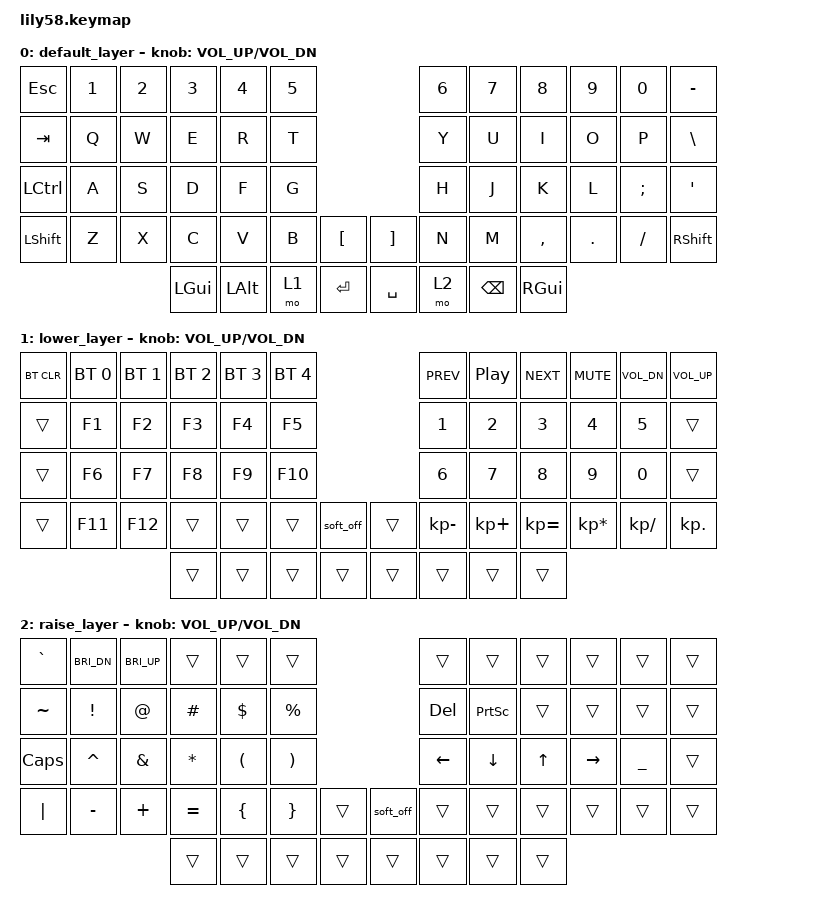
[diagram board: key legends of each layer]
/*
 * Copyright (c) 2020 The ZMK Contributors
 *
 * SPDX-License-Identifier: MIT
 */

#include <behaviors.dtsi>
#include <dt-bindings/zmk/keys.h>
#include <dt-bindings/zmk/bt.h>
#include <dt-bindings/zmk/ext_power.h>
&soft_off {
  hold-time-ms = <2000>; //Only turn off it the key is held for 2 second
    
};

/ {
    keymap {
        compatible = "zmk,keymap";

        default_layer {
// ------------------------------------------------------------------------------------------------------------------
// |  ESC  |  1  |  2  |  3   |  4   |  5     |                  |  6    |  7    |  8    |  9   |   0   |  soft_off |
// |  TAB  |  Q  |  W  |  E   |  R   |  T     |                  |  Y    |  U    |  I    |  O   |   P   |     \     |
// |  CTRL |  A  |  S  |  D   |  F   |  G     |                  |  H    |  J    |  K    |  L   |   ;   |     '     |
// | SHIFT |  Z  |  X  |  C   |  V   |  B     |  "["  |  |  "]"  |  N    |  M    |  ,    |  .   |   /   |   SHIFT   |
//                     | GUI  | ALT  |  LOWER | ENTER |  | SPACE | RAISE | BSPC  | GUI   |

            bindings = <
&kp ESC   &kp N1 &kp N2 &kp N3   &kp N4   &kp N5                    &kp N6 &kp N7   &kp N8    &kp N9  &kp N0   &kp MINUS
&kp TAB   &kp Q  &kp W  &kp E    &kp R    &kp T                     &kp Y  &kp U    &kp I     &kp O   &kp P    &kp BSLH
&kp LCTRL &kp A  &kp S  &kp D    &kp F    &kp G                     &kp H  &kp J    &kp K     &kp L   &kp SEMI &kp SQT
&kp LSHFT &kp Z  &kp X  &kp C    &kp V    &kp B  &kp LBKT &kp RBKT  &kp N  &kp M    &kp COMMA &kp DOT &kp FSLH &kp RSHFT
                        &kp LGUI &kp LALT &mo 1  &kp RET  &kp SPACE &mo 2  &kp BSPC &kp RGUI
            >;

            sensor-bindings = <&inc_dec_kp C_VOL_UP C_VOL_DN>;
        };

        lower_layer {
// --------------------------------------------------------------------------------------------------------------
// | BTCLR | BT1 | BT2 |  BT3 |  BT4 |  BT5 |                    |  PRV |  P/S  |  NXT  |  MUTE | VDOWN |  VUP  |
// |       |     |     |      |      |      |                    |  1   |   2   |   3   |   4   |   5   |       |
// |       |     |     |      |      |      |                    |  6   |   7   |   8   |   9   |   0   |       |
// |       |     |     |      |      |      | SoftOFF  |  |      |  -   |  +    |  =    |  *    |   /   |  "."  |
//                     |      |      |      |          |  |      |      |       |       |
            bindings = <
&bt BT_CLR &bt BT_SEL 0 &bt BT_SEL 1 &bt BT_SEL 2 &bt BT_SEL 3 &bt BT_SEL 4                          &kp C_PREV   &kp C_PP     &kp C_NEXT   &kp K_MUTE      &kp C_VOL_DN    &kp C_VOL_UP
&trans     &kp F1       &kp F2       &kp F3       &kp F4       &kp F5                                &kp N1       &kp N2       &kp N3       &kp N4          &kp N5          &trans
&trans     &kp F6       &kp F7       &kp F8       &kp F9       &kp F10                               &kp N6       &kp N7       &kp N8       &kp N9          &kp N0          &trans
&trans     &kp F11      &kp F12      &trans       &trans       &trans       &soft_off   &trans       &kp KP_MINUS &kp KP_PLUS  &kp KP_EQUAL &kp KP_MULTIPLY &kp KP_DIVIDE   &kp KP_DOT
                                     &trans       &trans       &trans       &trans      &trans       &trans       &trans       &trans
            >;

            sensor-bindings = <&inc_dec_kp C_VOL_UP C_VOL_DN>;
        };

        raise_layer {
// -----------------------------------------------------------------------------------------------------------
// |  `    | BRI_DN | BRI_UP |      |      |      |                  |      |       |     |      |     |     |
// |  ~    |   !    |   @    |  #   |  $   |  %   |                  | DEL  | PSCRN |     |      |     |     |
// | CAPS  |   ^    |   &    |  *   |  (   |  )   |                  |  <-  |  v    |  ^  |  ->  |  _  |     |
// |  -    |   +    |   =    |  {   |  }   |  |   |     |  | SoftOFF |      |       |     |      |     |     |
//                           |      |      |      |     |  |         |      |       |     |
            bindings = <
&kp GRAVE &kp C_BRI_DN &kp C_BRI_UP &trans    &trans     &trans                     &trans   &trans    &trans &trans    &trans    &trans
&kp TILDE &kp EXCL     &kp AT       &kp HASH  &kp DOLLAR &kp PRCNT                  &kp DEL  &kp PSCRN &trans &trans    &trans    &trans
&kp CAPS  &kp CARET    &kp AMPS     &kp STAR  &kp LPAR   &kp RPAR                   &kp LEFT &kp DOWN  &kp UP &kp RIGHT &kp UNDER &trans 
&kp PIPE  &kp MINUS    &kp PLUS     &kp EQUAL &kp LBRC   &kp RBRC  &trans &soft_off &trans   &trans    &trans &trans    &trans    &trans 
                                    &trans    &trans     &trans    &trans &trans    &trans   &trans    &trans
            >;

            sensor-bindings = <&inc_dec_kp C_VOL_UP C_VOL_DN>;
        };
    };
};
